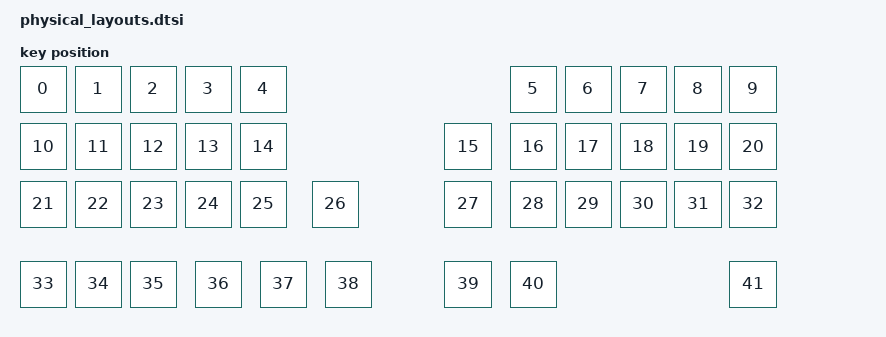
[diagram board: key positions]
#include <physical_layouts.dtsi>

/ {
    physical_layout0: physical_layout0 {
        compatible = "zmk,physical-layout";
        display-name = "moNa2";

        transform = <&default_transform>;
        kscan = <&kscan0>;

        keys
            // 左手 上段 5
            = <&key_physical_attrs 100 100    0    0 0 0 0>
            , <&key_physical_attrs 100 100  110    0 0 0 0>
            , <&key_physical_attrs 100 100  220    0 0 0 0>
            , <&key_physical_attrs 100 100  330    0 0 0 0>
            , <&key_physical_attrs 100 100  440    0 0 0 0>

            // 右手 上段 5
            , <&key_physical_attrs 100 100  980    0 0 0 0>
            , <&key_physical_attrs 100 100 1090    0 0 0 0>
            , <&key_physical_attrs 100 100 1200    0 0 0 0>
            , <&key_physical_attrs 100 100 1310    0 0 0 0>
            , <&key_physical_attrs 100 100 1420    0 0 0 0>

            // 左手 ホーム段 5
            , <&key_physical_attrs 100 100    0  115 0 0 0>
            , <&key_physical_attrs 100 100  110  115 0 0 0>
            , <&key_physical_attrs 100 100  220  115 0 0 0>
            , <&key_physical_attrs 100 100  330  115 0 0 0>
            , <&key_physical_attrs 100 100  440  115 0 0 0>

            // 右手 ホーム段 6（左端を少し前に）
            , <&key_physical_attrs 100 100  850  115 0 0 0>
            , <&key_physical_attrs 100 100  980  115 0 0 0>
            , <&key_physical_attrs 100 100 1090  115 0 0 0>
            , <&key_physical_attrs 100 100 1200  115 0 0 0>
            , <&key_physical_attrs 100 100 1310  115 0 0 0>
            , <&key_physical_attrs 100 100 1420  115 0 0 0>

            // 左手 下段 6
            , <&key_physical_attrs 100 100    0  230 0 0 0>
            , <&key_physical_attrs 100 100  110  230 0 0 0>
            , <&key_physical_attrs 100 100  220  230 0 0 0>
            , <&key_physical_attrs 100 100  330  230 0 0 0>
            , <&key_physical_attrs 100 100  440  230 0 0 0>
            , <&key_physical_attrs 100 100  585  230 0 0 0>

            // 右手 下段 6（左端を少し前に）
            , <&key_physical_attrs 100 100  850  230 0 0 0>
            , <&key_physical_attrs 100 100  980  230 0 0 0>
            , <&key_physical_attrs 100 100 1090  230 0 0 0>
            , <&key_physical_attrs 100 100 1200  230 0 0 0>
            , <&key_physical_attrs 100 100 1310  230 0 0 0>
            , <&key_physical_attrs 100 100 1420  230 0 0 0>

            // 左手 親指列 6
            , <&key_physical_attrs 100 100    0  390 0 0 0>
            , <&key_physical_attrs 100 100  110  390 0 0 0>
            , <&key_physical_attrs 100 100  220  390 0 0 0>
            , <&key_physical_attrs 100 100  350  390 0 0 0>
            , <&key_physical_attrs 100 100  480  390 0 0 0>
            , <&key_physical_attrs 100 100  610  390 0 0 0>

            // 右手 親指列 3
            , <&key_physical_attrs 100 100  850  390 0 0 0>
            , <&key_physical_attrs 100 100  980  390 0 0 0>
            , <&key_physical_attrs 100 100 1420  390 0 0 0>;
    };
};
